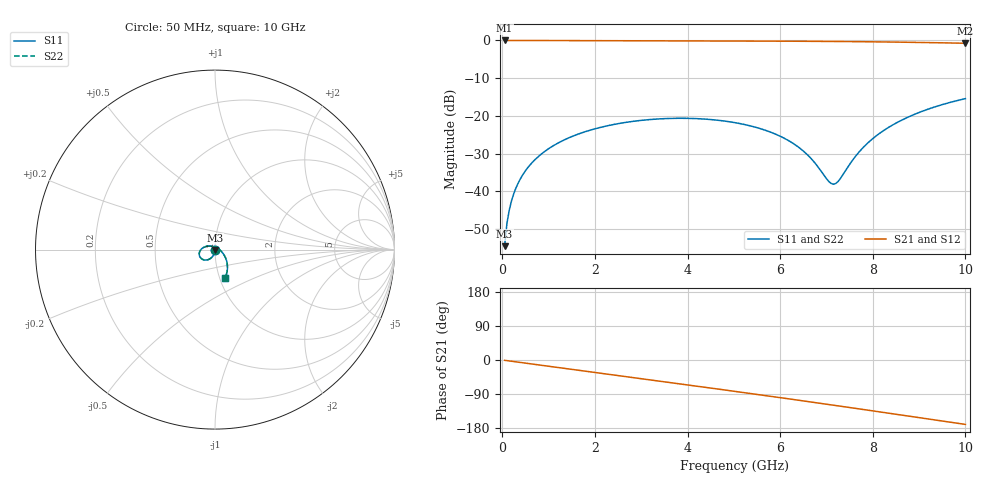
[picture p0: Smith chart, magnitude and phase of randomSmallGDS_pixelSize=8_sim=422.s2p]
! freq	dB(S11)	phase(S11)	dB(S12)	phase(S12)
!  dB(S21)	phase(S21)	dB(S22)	phase(S22)
!S-par simulation data
#  GHz  S  DB  R 50
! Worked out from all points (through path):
!   200 points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, 50 MHz to 10 GHz, reference 50 ohm
!   highest |S21| = 0.00 dB at 50 MHz (marker M1); lowest = -0.7 dB at 10 GHz (marker M2)
!   group delay of S21, straight-line fit = 47 ps
!   lowest |S11| = -54.5 dB at 50 MHz (marker M3), VSWR 1.00, Z = 50 - j0.189 ohm
!   |S11| at or under -10 dB: start of sweep to end of sweep
!   |S22| runs from -54.5 to -15.4 dB; largest |S21 - S12| = 0
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0.05  -54.49 -90.2  -0.00 -0.8  -0.00 -0.8  -54.49 -90.2
0.1  -48.47 -91.5  -0.00 -1.7  -0.00 -1.7  -48.47 -91.5
0.15  -44.95 -92.5  -0.01 -2.5  -0.01 -2.5  -44.95 -92.5
0.2  -42.45 -93.5  -0.01 -3.3  -0.01 -3.3  -42.45 -93.5
0.35  -37.59 -96.2  -0.01 -5.8  -0.01 -5.8  -37.59 -96.2
0.5  -34.52 -98.9  -0.01 -8.3  -0.01 -8.3  -34.52 -98.9
0.7  -31.65 -102.3  -0.02 -11.6  -0.02 -11.6  -31.65 -102.3
1  -28.67 -107.5  -0.02 -16.5  -0.02 -16.5  -28.67 -107.5
1.75  -24.33 -120.1  -0.05 -28.8  -0.05 -28.8  -24.33 -120.1
2.5  -22.04 -132.7  -0.07 -41.1  -0.07 -41.1  -22.04 -132.7
3.4  -20.77 -147.9  -0.10 -55.8  -0.10 -55.8  -20.77 -147.9
4.25  -20.74 -162.8  -0.13 -69.9  -0.13 -69.9  -20.74 -162.8
5.05  -21.83 -177.7  -0.15 -83.2  -0.15 -83.2  -21.83 -177.7
6.05  -25.66 160.0  -0.19 -100.2  -0.19 -100.2  -25.66 160.1
6.4  -28.29 148.8  -0.21 -106.2  -0.21 -106.2  -28.30 148.9
6.7  -31.71 133.8  -0.23 -111.4  -0.23 -111.4  -31.72 134.0
7.05  -37.35 89.6  -0.26 -117.5  -0.26 -117.5  -37.39 89.8
7.2  -37.90 52.1  -0.27 -120.1  -0.27 -120.1  -37.95 52.1
7.75  -28.91 -15.5  -0.33 -129.8  -0.33 -129.8  -28.92 -15.7
8.35  -22.96 -36.4  -0.41 -140.4  -0.41 -140.4  -22.96 -36.5
9.1  -18.61 -53.7  -0.54 -153.9  -0.54 -153.9  -18.62 -53.8
10  -15.41 -71.3  -0.75 -170.0  -0.75 -170.0  -15.42 -71.4
